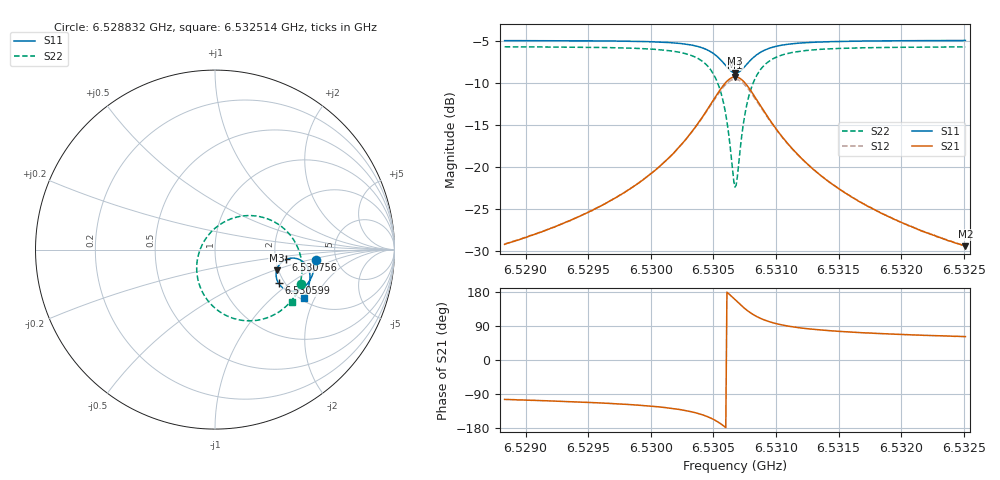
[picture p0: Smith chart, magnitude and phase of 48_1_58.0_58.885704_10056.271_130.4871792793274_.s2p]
#  HZ  S  RI  R  50.00
! Rohde & Schwarz Vector Network Analyzer
! Rohde-Schwarz,ZNB20-2Port,1311601062101988,3.16
! Created: UTC 3/21/2024, 12:52:22 AM
! freq[Hz]  re:S11  im:S11  re:S21  im:S21  re:S12  im:S12  re:S22  im:S22
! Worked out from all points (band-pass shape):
!   401 points, 6.528832 GHz to 6.532514 GHz, reference 50 ohm
!   highest |S21| = -9.28 dB at 6.530673 GHz (marker M1); lowest = -29.4 dB at 6.532514 GHz (marker M2)
!   |S21| within 3 dB of the highest: 6.53049 GHz to 6.530858 GHz (368.5 kHz wide, 0.00564 % of centre)
!   lowest |S11| = -8.8 dB at 6.530673 GHz (marker M3), VSWR 2.14, Z = 97.7 - j26.1 ohm
!   |S11| at or under -10 dB: nowhere
!   |S22| runs from -22.4 to -5.7 dB; largest |S21 - S12| = 0.015
!   S11 on the Smith chart (normalised r, x): 6.528832 GHz: 3.47, -0.60; 6.530599 GHz: 1.86, -0.83; 6.530756 GHz: 2.28, -0.30; 6.532514 GHz: 2.07, -1.66
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6.5288321e9  0.5608 -0.0592  -0.00842 -0.0337  -0.00925 -0.0336  0.4818 -0.191
6.5294488e9  0.5513 -0.1127  -0.0187 -0.0483  -0.0198 -0.0478  0.4488 -0.2528
6.5297801e9  0.5408 -0.1456  -0.0314 -0.0625  -0.0332 -0.0618  0.4158 -0.2958
6.5300655e9  0.5233 -0.1794  -0.0557 -0.0831  -0.0581 -0.0816  0.3606 -0.344
6.5302864e9  0.4933 -0.2115  -0.1028 -0.1066  -0.1059 -0.1027  0.2659 -0.3874
6.5304429e9  0.4437 -0.2309  -0.182 -0.113  -0.1847 -0.1051  0.1206 -0.3883
6.5305349e9  0.3926 -0.2219  -0.2622 -0.0797  -0.2606 -0.0678  -0.012 -0.315
6.5305717e9  0.3696 -0.2059  -0.2966 -0.0452  -0.2917 -0.033  -0.0631 -0.2498
6.5305993e9  0.3542 -0.1874  -0.318 -0.00843  -0.3099 0.00314  -0.0909 -0.1841
6.5306546e9  0.3404 -0.1351  -0.3301 0.0873  -0.3171 0.0938  -0.0909 -0.0238
6.530673e9  0.3432 -0.1159  -0.3213 0.121  -0.308 0.1251  -0.0701 0.0297
6.5306914e9  0.3501 -0.0977  -0.3061 0.1523  -0.2928 0.154  -0.0392 0.0777
6.5307282e9  0.3735 -0.0685  -0.2609 0.2017  -0.2497 0.1994  0.0441 0.1501
6.5307558e9  0.3955 -0.0549  -0.2205 0.224  -0.2115 0.22  0.1148 0.1794
6.5307834e9  0.418 -0.0484  -0.1803 0.2344  -0.1736 0.23  0.1832 0.1895
6.5308202e9  0.4453 -0.0482  -0.133 0.2344  -0.1286 0.2301  0.2627 0.1806
6.5309123e9  0.4916 -0.0684  -0.0545 0.2032  -0.0527 0.2008  0.3908 0.1112
6.5310504e9  0.5199 -0.106  -0.00631 0.151  -0.00508 0.1501  0.4637 0.00504
6.5312897e9  0.5295 -0.1529  0.0149 0.0972  0.0161 0.0968  0.485 -0.1066
6.5315566e9  0.526 -0.1882  0.0187 0.0674  0.0196 0.0671  0.4775 -0.1746
6.5319064e9  0.5164 -0.2233  0.0184 0.047  0.0193 0.0468  0.4602 -0.2291
6.5325139e9  0.4953 -0.2724  0.0161 0.0298  0.0167 0.0296  0.4285 -0.2901
